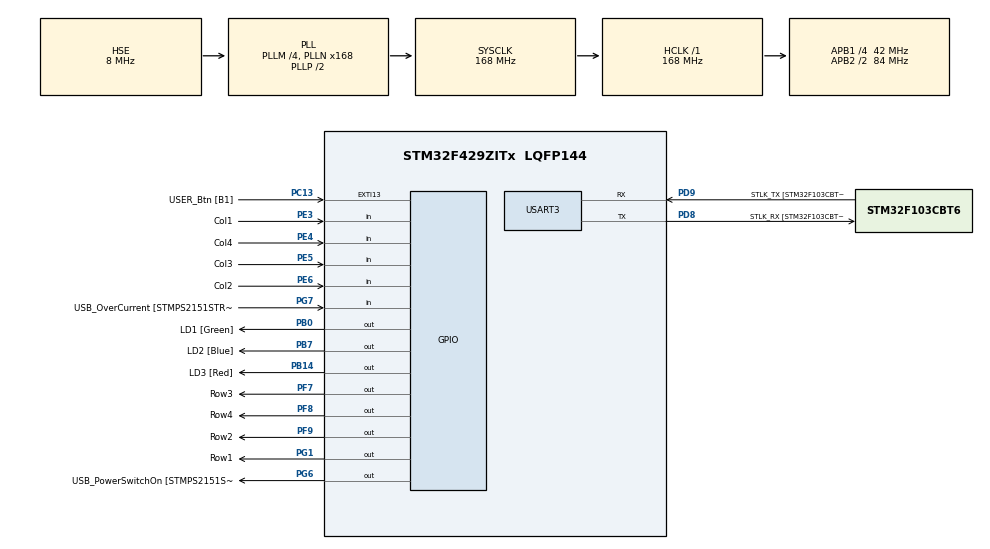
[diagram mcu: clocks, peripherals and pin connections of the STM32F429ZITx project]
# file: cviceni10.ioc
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Mcu.Family=STM32F4
Mcu.Name=STM32F429ZITx
Mcu.Package=LQFP144
NVIC.PriorityGroup=NVIC_PRIORITYGROUP_4
NVIC.TIM3_IRQn=true\:0\:0\:false\:false\:true\:true\:true\:true
PA1.GPIO_Label=RMII_REF_CLK [LAN8742A-CZ-TR_REFCLK0]
PA1.Signal=ETH_REF_CLK
PA10.GPIO_Label=USB_ID
PA10.Signal=USB_OTG_FS_ID
PA11.GPIO_Label=USB_DM
PA11.Signal=USB_OTG_FS_DM
PA12.GPIO_Label=USB_DP
PA12.Signal=USB_OTG_FS_DP
PA13.GPIO_Label=TMS
PA13.Mode=Serial_Wire
PA13.Signal=SYS_JTMS-SWDIO
PA14.GPIO_Label=TCK
PA14.Mode=Serial_Wire
PA14.Signal=SYS_JTCK-SWCLK
PA2.GPIO_Label=RMII_MDIO [LAN8742A-CZ-TR_MDIO]
PA2.Signal=ETH_MDIO
PA7.GPIO_Label=RMII_CRS_DV [LAN8742A-CZ-TR_CRS_DV]
PA7.Signal=ETH_CRS_DV
PA8.GPIO_Label=USB_SOF [TP1]
PA8.Signal=USB_OTG_FS_SOF
PA9.GPIO_Label=USB_VBUS
PA9.Signal=USB_OTG_FS_VBUS
PB0.GPIO_Label=LD1 [Green]
PB0.Signal=GPIO_Output
PB13.GPIO_Label=RMII_TXD1 [LAN8742A-CZ-TR_TXD1]
PB13.Signal=ETH_TXD1
PB14.GPIO_Label=LD3 [Red]
PB14.Signal=GPIO_Output
PB7.GPIO_Label=LD2 [Blue]
PB7.Signal=GPIO_Output
PC1.GPIO_Label=RMII_MDC [LAN8742A-CZ-TR_MDC]
PC1.Signal=ETH_MDC
PC13.GPIO_Label=USER_Btn [B1]
PC13.Signal=GPXTI13
PC14/OSC32_IN.Mode=LSE-External-Oscillator
PC14/OSC32_IN.Signal=RCC_OSC32_IN
PC15/OSC32_OUT.Mode=LSE-External-Oscillator
PC15/OSC32_OUT.Signal=RCC_OSC32_OUT
PC4.GPIO_Label=RMII_RXD0 [LAN8742A-CZ-TR_RXD0]
PC4.Signal=ETH_RXD0
PC5.GPIO_Label=RMII_RXD1 [LAN8742A-CZ-TR_RXD1]
PC5.Signal=ETH_RXD1
PD8.GPIO_Label=STLK_RX [STM32F103CBT6_PA3]
PD8.Mode=Asynchronous
PD8.Signal=USART3_TX
PD9.GPIO_Label=STLK_TX [STM32F103CBT6_PA2]
PD9.Mode=Asynchronous
PD9.Signal=USART3_RX
PE3.GPIO_Label=Col1
PE3.GPIO_PuPd=GPIO_PULLUP
PE3.Signal=GPIO_Input
PE4.GPIO_Label=Col4
PE4.GPIO_PuPd=GPIO_PULLUP
PE4.Signal=GPIO_Input
PE5.GPIO_Label=Col3
PE5.GPIO_PuPd=GPIO_PULLUP
PE5.Signal=GPIO_Input
PE6.GPIO_Label=Col2
PE6.GPIO_PuPd=GPIO_PULLUP
PE6.Signal=GPIO_Input
PF7.GPIO_Label=Row3
PF7.GPIO_ModeDefaultOutputPP=GPIO_MODE_OUTPUT_OD
PF7.GPIO_PuPd=GPIO_NOPULL
PF7.PinState=GPIO_PIN_RESET
PF7.Signal=GPIO_Output
PF8.GPIO_Label=Row4
PF8.GPIO_ModeDefaultOutputPP=GPIO_MODE_OUTPUT_OD
PF8.GPIO_PuPd=GPIO_NOPULL
PF8.PinState=GPIO_PIN_RESET
PF8.Signal=GPIO_Output
PF9.GPIO_Label=Row2
PF9.GPIO_ModeDefaultOutputPP=GPIO_MODE_OUTPUT_OD
PF9.GPIO_PuPd=GPIO_NOPULL
PF9.PinState=GPIO_PIN_RESET
PF9.Signal=GPIO_Output
PG1.GPIO_Label=Row1
PG1.GPIO_ModeDefaultOutputPP=GPIO_MODE_OUTPUT_OD
PG1.GPIO_PuPd=GPIO_NOPULL
PG1.PinState=GPIO_PIN_RESET
PG1.Signal=GPIO_Output
PG11.GPIO_Label=RMII_TX_EN [LAN8742A-CZ-TR_TXEN]
PG11.Signal=ETH_TX_EN
PG13.GPIO_Label=RMII_TXD0 [LAN8742A-CZ-TR_TXD0]
PG13.Signal=ETH_TXD0
PG6.GPIO_Label=USB_PowerSwitchOn [STMPS2151STR_EN]
PG6.Signal=GPIO_Output
PG7.GPIO_Label=USB_OverCurrent [STMPS2151STR_FAULT]
PG7.Signal=GPIO_Input
PH0/OSC_IN.GPIO_Label=MCO [STM32F103CBT6_PA8]
PH0/OSC_IN.Mode=HSE-External-Clock-Source
PH0/OSC_IN.Signal=RCC_OSC_IN
PH1/OSC_OUT.Mode=HSE-External-Clock-Source
PH1/OSC_OUT.Signal=RCC_OSC_OUT
ProjectManager.HeapSize=0x200
ProjectManager.StackSize=0x400
ProjectManager.TargetToolchain=STM32CubeIDE
RCC.48MHZClocksFreq_Value=48000000
RCC.AHBFreq_Value=168000000
RCC.APB1CLKDivider=RCC_HCLK_DIV4
RCC.APB1Freq_Value=42000000
RCC.APB1TimFreq_Value=84000000
RCC.APB2CLKDivider=RCC_HCLK_DIV2
RCC.APB2Freq_Value=84000000
RCC.APB2TimCLKDivider=2
RCC.APB2TimFreq_Value=168000000
RCC.CortexFreq_Value=168000000
RCC.HCLKFreq_Value=168000000
RCC.HSE_VALUE=8000000
RCC.HSI_VALUE=16000000
RCC.PLLM=4
RCC.PLLMUL=RCC_PLL_MUL9
RCC.PLLN=168
RCC.PLLQ=7
RCC.PLLSourceVirtual=RCC_PLLSOURCE_HSE
RCC.PRESCALERUSB=RCC_USBCLKSOURCE_PLL_DIV1_5
RCC.SYSCLKFreq_VALUE=168000000
RCC.SYSCLKSource=RCC_SYSCLKSOURCE_PLLCLK
RCC.SYSCLKSourceVirtual=RCC_SYSCLKSOURCE_PLLCLK
RCC.USBFreq_Value=48000000
RCC.VCOOutputFreq_Value=336000000
TIM3.AutoReloadPreload=TIM_AUTORELOAD_PRELOAD_ENABLE
TIM3.Period=99
TIM3.Prescaler=8399
USART3.VirtualMode=VM_ASYNC
VP_TIM3_VS_ClockSourceINT.Mode=Internal
board=NUCLEO-F429ZI

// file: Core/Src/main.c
/* USER CODE BEGIN Header */
/**
  ******************************************************************************
  * @file           : main.c
  * @brief          : Main program body
  ******************************************************************************
  * @attention
  *
  * Copyright (c) 2023 STMicroelectronics.
  * All rights reserved.
  *
  * This software is licensed under terms that can be found in the LICENSE file
  * in the root directory of this software component.
  * If no LICENSE file comes with this software, it is provided AS-IS.
  *
  ******************************************************************************
  */
/* USER CODE END Header */
#include "main.h"

/* USER CODE BEGIN Includes */
#include <stdio.h>

/* USER CODE END Includes */

TIM_HandleTypeDef htim3;

UART_HandleTypeDef huart3;

/* USER CODE BEGIN PV */
static volatile int8_t key = -1;
const uint8_t kod[] =  {7,9,3,2,12};
/* USER CODE END PV */

void SystemClock_Config(void);
static void MX_GPIO_Init(void);
static void MX_USART3_UART_Init(void);
static void MX_TIM3_Init(void);

/* USER CODE BEGIN 0 */
int __io_putchar(int ch)
{
ITM_SendChar(ch);
return 0;
}

/* USER CODE END 0 */

int main(void)
{

  /* MCU Configuration--------------------------------------------------------*/

  /* Reset of all peripherals, Initializes the Flash interface and the Systick. */  HAL_Init();

  /* Configure the system clock */
  SystemClock_Config();

  /* Initialize all configured peripherals */
  MX_GPIO_Init();
  MX_USART3_UART_Init();
  MX_TIM3_Init();
  /* USER CODE BEGIN 2 */
  /*printf("Start\n");
  uint8_t i = 0;*/
  HAL_TIM_Base_Start_IT(&htim3);
  uint8_t pos = 0;

  /* USER CODE END 2 */

  /* Infinite loop */
  while (1)
  {

    /* USER CODE BEGIN 3 */
	  /*HAL_GPIO_TogglePin(LD1_GPIO_Port, LD1_Pin);
	  printf("Tick %d\n", i++);
	  HAL_Delay(250);*/
	if (key != (-1)) {
		if (key == kod[pos]) {
			pos++;
			if (pos == sizeof(kod)) {
				pos = 0;
				HAL_GPIO_TogglePin(LD1_GPIO_Port, LD1_Pin);
			}
		} else {
			pos = 0;
		}
		if (key == 24) {
			HAL_GPIO_WritePin(LD1_GPIO_Port, LD1_Pin, 0);
		}

		printf("kod = %d, pos = %d\n", key, pos);
		HAL_Delay(300);
		key = -1;

	}

  }
  /* USER CODE END 3 */
}

void SystemClock_Config(void)
{
  RCC_OscInitTypeDef RCC_OscInitStruct = {0};
  RCC_ClkInitTypeDef RCC_ClkInitStruct = {0};

  /** Configure the main internal regulator output voltage
  */
  __HAL_RCC_PWR_CLK_ENABLE();
  __HAL_PWR_VOLTAGESCALING_CONFIG(PWR_REGULATOR_VOLTAGE_SCALE1);

  /** Initializes the RCC Oscillators according to the specified parameters
  * in the RCC_OscInitTypeDef structure.
  */
  RCC_OscInitStruct.OscillatorType = RCC_OSCILLATORTYPE_HSE;
  RCC_OscInitStruct.HSEState = RCC_HSE_BYPASS;
  RCC_OscInitStruct.PLL.PLLState = RCC_PLL_ON;
  RCC_OscInitStruct.PLL.PLLSource = RCC_PLLSOURCE_HSE;
  RCC_OscInitStruct.PLL.PLLM = 4;
  RCC_OscInitStruct.PLL.PLLN = 168;
  RCC_OscInitStruct.PLL.PLLP = RCC_PLLP_DIV2;
  RCC_OscInitStruct.PLL.PLLQ = 7;
  if (HAL_RCC_OscConfig(&RCC_OscInitStruct) != HAL_OK)
  {
    Error_Handler();
  }

  /** Initializes the CPU, AHB and APB buses clocks
  */
  RCC_ClkInitStruct.ClockType = RCC_CLOCKTYPE_HCLK|RCC_CLOCKTYPE_SYSCLK
                              |RCC_CLOCKTYPE_PCLK1|RCC_CLOCKTYPE_PCLK2;
  RCC_ClkInitStruct.SYSCLKSource = RCC_SYSCLKSOURCE_PLLCLK;
  RCC_ClkInitStruct.AHBCLKDivider = RCC_SYSCLK_DIV1;
  RCC_ClkInitStruct.APB1CLKDivider = RCC_HCLK_DIV4;
  RCC_ClkInitStruct.APB2CLKDivider = RCC_HCLK_DIV2;

  if (HAL_RCC_ClockConfig(&RCC_ClkInitStruct, FLASH_LATENCY_5) != HAL_OK)
  {
    Error_Handler();
  }
}

static void MX_TIM3_Init(void)
{

  TIM_ClockConfigTypeDef sClockSourceConfig = {0};
  TIM_MasterConfigTypeDef sMasterConfig = {0};

  htim3.Instance = TIM3;
  htim3.Init.Prescaler = 8399;
  htim3.Init.CounterMode = TIM_COUNTERMODE_UP;
  htim3.Init.Period = 99;
  htim3.Init.ClockDivision = TIM_CLOCKDIVISION_DIV1;
  htim3.Init.AutoReloadPreload = TIM_AUTORELOAD_PRELOAD_ENABLE;
  if (HAL_TIM_Base_Init(&htim3) != HAL_OK)
  {
    Error_Handler();
  }
  sClockSourceConfig.ClockSource = TIM_CLOCKSOURCE_INTERNAL;
  if (HAL_TIM_ConfigClockSource(&htim3, &sClockSourceConfig) != HAL_OK)
  {
    Error_Handler();
  }
  sMasterConfig.MasterOutputTrigger = TIM_TRGO_RESET;
  sMasterConfig.MasterSlaveMode = TIM_MASTERSLAVEMODE_DISABLE;
  if (HAL_TIMEx_MasterConfigSynchronization(&htim3, &sMasterConfig) != HAL_OK)
  {
    Error_Handler();
  }

}

static void MX_USART3_UART_Init(void)
{

  huart3.Instance = USART3;
  huart3.Init.BaudRate = 115200;
  huart3.Init.WordLength = UART_WORDLENGTH_8B;
  huart3.Init.StopBits = UART_STOPBITS_1;
  huart3.Init.Parity = UART_PARITY_NONE;
  huart3.Init.Mode = UART_MODE_TX_RX;
  huart3.Init.HwFlowCtl = UART_HWCONTROL_NONE;
  huart3.Init.OverSampling = UART_OVERSAMPLING_16;
  if (HAL_UART_Init(&huart3) != HAL_OK)
  {
    Error_Handler();
  }

}

static void MX_GPIO_Init(void)
{
  GPIO_InitTypeDef GPIO_InitStruct = {0};

  /* GPIO Ports Clock Enable */
  __HAL_RCC_GPIOE_CLK_ENABLE();
  __HAL_RCC_GPIOC_CLK_ENABLE();
  __HAL_RCC_GPIOF_CLK_ENABLE();
  __HAL_RCC_GPIOH_CLK_ENABLE();
  __HAL_RCC_GPIOA_CLK_ENABLE();
  __HAL_RCC_GPIOB_CLK_ENABLE();
  __HAL_RCC_GPIOG_CLK_ENABLE();
  __HAL_RCC_GPIOD_CLK_ENABLE();

  /*Configure GPIO pin Output Level */
  HAL_GPIO_WritePin(GPIOF, Row3_Pin|Row4_Pin|Row2_Pin, GPIO_PIN_RESET);

  /*Configure GPIO pin Output Level */
  HAL_GPIO_WritePin(GPIOB, LD1_Pin|LD3_Pin|LD2_Pin, GPIO_PIN_RESET);

  /*Configure GPIO pin Output Level */
  HAL_GPIO_WritePin(GPIOG, Row1_Pin|USB_PowerSwitchOn_Pin, GPIO_PIN_RESET);

  /*Configure GPIO pins : Col1_Pin Col4_Pin Col3_Pin Col2_Pin */
  GPIO_InitStruct.Pin = Col1_Pin|Col4_Pin|Col3_Pin|Col2_Pin;
  GPIO_InitStruct.Mode = GPIO_MODE_INPUT;
  GPIO_InitStruct.Pull = GPIO_PULLUP;
  HAL_GPIO_Init(GPIOE, &GPIO_InitStruct);

  /*Configure GPIO pin : USER_Btn_Pin */
  GPIO_InitStruct.Pin = USER_Btn_Pin;
  GPIO_InitStruct.Mode = GPIO_MODE_IT_RISING;
  GPIO_InitStruct.Pull = GPIO_NOPULL;
  HAL_GPIO_Init(USER_Btn_GPIO_Port, &GPIO_InitStruct);

  /*Configure GPIO pins : Row3_Pin Row4_Pin Row2_Pin */
  GPIO_InitStruct.Pin = Row3_Pin|Row4_Pin|Row2_Pin;
  GPIO_InitStruct.Mode = GPIO_MODE_OUTPUT_OD;
  GPIO_InitStruct.Pull = GPIO_NOPULL;
  GPIO_InitStruct.Speed = GPIO_SPEED_FREQ_LOW;
  HAL_GPIO_Init(GPIOF, &GPIO_InitStruct);

  /*Configure GPIO pins : RMII_MDC_Pin RMII_RXD0_Pin RMII_RXD1_Pin */
  GPIO_InitStruct.Pin = RMII_MDC_Pin|RMII_RXD0_Pin|RMII_RXD1_Pin;
  GPIO_InitStruct.Mode = GPIO_MODE_AF_PP;
  GPIO_InitStruct.Pull = GPIO_NOPULL;
  GPIO_InitStruct.Speed = GPIO_SPEED_FREQ_VERY_HIGH;
  GPIO_InitStruct.Alternate = GPIO_AF11_ETH;
  HAL_GPIO_Init(GPIOC, &GPIO_InitStruct);

  /*Configure GPIO pins : RMII_REF_CLK_Pin RMII_MDIO_Pin RMII_CRS_DV_Pin */
  GPIO_InitStruct.Pin = RMII_REF_CLK_Pin|RMII_MDIO_Pin|RMII_CRS_DV_Pin;
  GPIO_InitStruct.Mode = GPIO_MODE_AF_PP;
  GPIO_InitStruct.Pull = GPIO_NOPULL;
  GPIO_InitStruct.Speed = GPIO_SPEED_FREQ_VERY_HIGH;
  GPIO_InitStruct.Alternate = GPIO_AF11_ETH;
  HAL_GPIO_Init(GPIOA, &GPIO_InitStruct);

  /*Configure GPIO pins : LD1_Pin LD3_Pin LD2_Pin */
  GPIO_InitStruct.Pin = LD1_Pin|LD3_Pin|LD2_Pin;
  GPIO_InitStruct.Mode = GPIO_MODE_OUTPUT_PP;
  GPIO_InitStruct.Pull = GPIO_NOPULL;
  GPIO_InitStruct.Speed = GPIO_SPEED_FREQ_LOW;
  HAL_GPIO_Init(GPIOB, &GPIO_InitStruct);

  /*Configure GPIO pin : Row1_Pin */
  GPIO_InitStruct.Pin = Row1_Pin;
  GPIO_InitStruct.Mode = GPIO_MODE_OUTPUT_OD;
  GPIO_InitStruct.Pull = GPIO_NOPULL;
  GPIO_InitStruct.Speed = GPIO_SPEED_FREQ_LOW;
  HAL_GPIO_Init(Row1_GPIO_Port, &GPIO_InitStruct);

  /*Configure GPIO pin : RMII_TXD1_Pin */
  GPIO_InitStruct.Pin = RMII_TXD1_Pin;
  GPIO_InitStruct.Mode = GPIO_MODE_AF_PP;
  GPIO_InitStruct.Pull = GPIO_NOPULL;
  GPIO_InitStruct.Speed = GPIO_SPEED_FREQ_VERY_HIGH;
  GPIO_InitStruct.Alternate = GPIO_AF11_ETH;
  HAL_GPIO_Init(RMII_TXD1_GPIO_Port, &GPIO_InitStruct);

  /*Configure GPIO pin : USB_PowerSwitchOn_Pin */
  GPIO_InitStruct.Pin = USB_PowerSwitchOn_Pin;
  GPIO_InitStruct.Mode = GPIO_MODE_OUTPUT_PP;
  GPIO_InitStruct.Pull = GPIO_NOPULL;
  GPIO_InitStruct.Speed = GPIO_SPEED_FREQ_LOW;
  HAL_GPIO_Init(USB_PowerSwitchOn_GPIO_Port, &GPIO_InitStruct);

  /*Configure GPIO pin : USB_OverCurrent_Pin */
  GPIO_InitStruct.Pin = USB_OverCurrent_Pin;
  GPIO_InitStruct.Mode = GPIO_MODE_INPUT;
  GPIO_InitStruct.Pull = GPIO_NOPULL;
  HAL_GPIO_Init(USB_OverCurrent_GPIO_Port, &GPIO_InitStruct);

  /*Configure GPIO pins : USB_SOF_Pin USB_ID_Pin USB_DM_Pin USB_DP_Pin */
  GPIO_InitStruct.Pin = USB_SOF_Pin|USB_ID_Pin|USB_DM_Pin|USB_DP_Pin;
  GPIO_InitStruct.Mode = GPIO_MODE_AF_PP;
  GPIO_InitStruct.Pull = GPIO_NOPULL;
  GPIO_InitStruct.Speed = GPIO_SPEED_FREQ_VERY_HIGH;
  GPIO_InitStruct.Alternate = GPIO_AF10_OTG_FS;
  HAL_GPIO_Init(GPIOA, &GPIO_InitStruct);

  /*Configure GPIO pin : USB_VBUS_Pin */
  GPIO_InitStruct.Pin = USB_VBUS_Pin;
  GPIO_InitStruct.Mode = GPIO_MODE_INPUT;
  GPIO_InitStruct.Pull = GPIO_NOPULL;
  HAL_GPIO_Init(USB_VBUS_GPIO_Port, &GPIO_InitStruct);

  /*Configure GPIO pins : RMII_TX_EN_Pin RMII_TXD0_Pin */
  GPIO_InitStruct.Pin = RMII_TX_EN_Pin|RMII_TXD0_Pin;
  GPIO_InitStruct.Mode = GPIO_MODE_AF_PP;
  GPIO_InitStruct.Pull = GPIO_NOPULL;
  GPIO_InitStruct.Speed = GPIO_SPEED_FREQ_VERY_HIGH;
  GPIO_InitStruct.Alternate = GPIO_AF11_ETH;
  HAL_GPIO_Init(GPIOG, &GPIO_InitStruct);

}

/* USER CODE BEGIN 4 */
void HAL_TIM_PeriodElapsedCallback(TIM_HandleTypeDef *htim)
{
	 static int row = 0;
	 static const int keyboard[4][4] = {
	 { 1, 2, 3, 21 },
	 { 4, 5, 6, 22 },
	 { 7, 8, 9, 23 },
	 { 11, 0, 12, 24 },
	 };
	 if (key == -1) {
		 if (HAL_GPIO_ReadPin(Col1_GPIO_Port, Col1_Pin) == GPIO_PIN_RESET) key = keyboard[row][0];
		 if (HAL_GPIO_ReadPin(Col2_GPIO_Port, Col2_Pin) == GPIO_PIN_RESET) key = keyboard[row][1];
		 if (HAL_GPIO_ReadPin(Col3_GPIO_Port, Col3_Pin) == GPIO_PIN_RESET) key = keyboard[row][2];
		 if (HAL_GPIO_ReadPin(Col4_GPIO_Port, Col4_Pin) == GPIO_PIN_RESET) key = keyboard[row][3];
	 // ... atd ...
	 }
	 HAL_GPIO_WritePin(Row1_GPIO_Port, Row1_Pin, GPIO_PIN_SET);
	 HAL_GPIO_WritePin(Row2_GPIO_Port, Row2_Pin, GPIO_PIN_SET);
	 HAL_GPIO_WritePin(Row3_GPIO_Port, Row3_Pin, GPIO_PIN_SET);
	 HAL_GPIO_WritePin(Row4_GPIO_Port, Row4_Pin, GPIO_PIN_SET);
	 switch (row) {
	 	 case 0: row = 1; HAL_GPIO_WritePin(Row2_GPIO_Port, Row2_Pin, GPIO_PIN_RESET); break;
	 	 case 1: row = 2; HAL_GPIO_WritePin(Row3_GPIO_Port, Row3_Pin, GPIO_PIN_RESET); break;
	 	 case 2: row = 3; HAL_GPIO_WritePin(Row4_GPIO_Port, Row4_Pin, GPIO_PIN_RESET); break;
	 	 case 3: row = 0; HAL_GPIO_WritePin(Row1_GPIO_Port, Row1_Pin, GPIO_PIN_RESET); break;
	 // ... atd ...
	 }
}

/* USER CODE END 4 */

void Error_Handler(void)
{
  __disable_irq();
  while (1)
  {
  }
}
